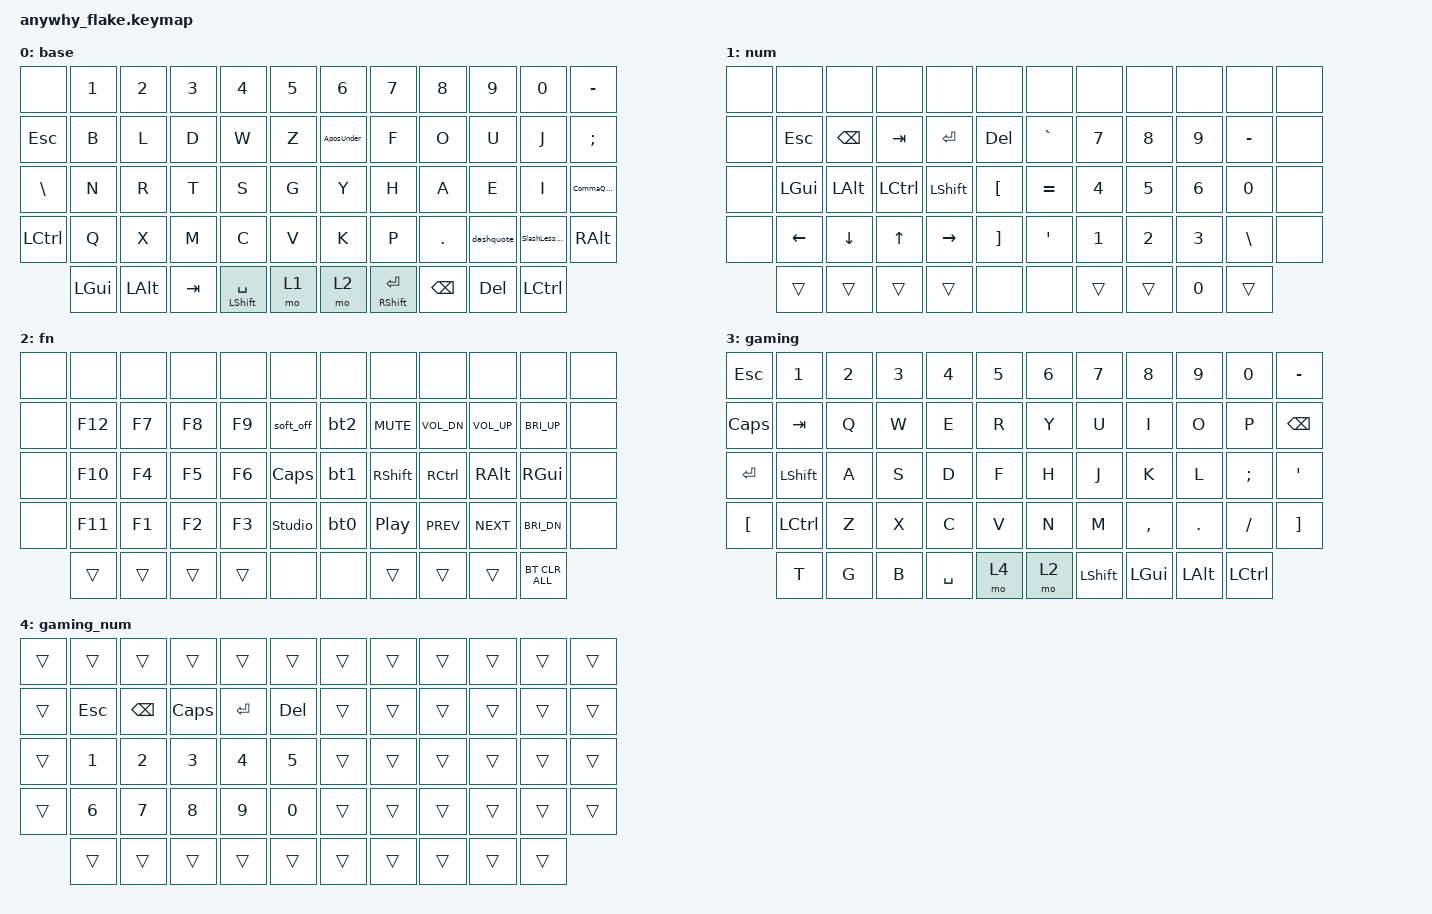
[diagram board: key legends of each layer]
#include <behaviors.dtsi>
#include <dt-bindings/zmk/bt.h>
#include <dt-bindings/zmk/keys.h>

/ {
    combos {
        compatible = "zmk,combos";

        bt_sel_3 {
            bindings = <&bt3>;
            key-positions = <42 30>;
            layers = <2>;
        };

        bt_sel_4 {
            bindings = <&bt4>;
            key-positions = <30 18>;
            layers = <2>;
        };

        enter_gaming {
            bindings = <&sl 3>;
            key-positions = <26 15 28>;
            layers = <2>;
        };

        leave_gaming {
            bindings = <&sl 0>;
            key-positions = <31 20 33>;
            layers = <4>;
        };

        grave {
            bindings = <&kp GRAVE>;
            key-positions = <13 25>;
            layers = <3>;
        };
    };

    macros {
        bt_clr_0: bt_clr_0 {
            compatible = "zmk,behavior-macro";
            #binding-cells = <0>;
            bindings = <&bt BT_SEL 0 &bt BT_CLR>;
            label = "BT_CLR_0";
        };

        bt_clr_1: bt_clr_1 {
            compatible = "zmk,behavior-macro";
            #binding-cells = <0>;
            bindings = <&bt BT_SEL 1 &bt BT_CLR>;
            label = "BT_CLR_1";
        };

        bt_clr_2: bt_clr_2 {
            compatible = "zmk,behavior-macro";
            #binding-cells = <0>;
            bindings = <&bt BT_SEL 2 &bt BT_CLR>;
            label = "BT_CLR_2";
        };

        bt_clr_3: bt_clr_3 {
            compatible = "zmk,behavior-macro";
            #binding-cells = <0>;
            bindings = <&bt BT_SEL 3 &bt BT_CLR>;
            label = "BT_CLR_3";
        };

        bt_clr_4: bt_clr_4 {
            compatible = "zmk,behavior-macro";
            #binding-cells = <0>;
            bindings = <&bt BT_SEL 4 &bt BT_CLR>;
            label = "BT_CLR_4";
        };
    };

    behaviors {
        bt0: bt0 {
            compatible = "zmk,behavior-mod-morph";
            label = "BT0";
            bindings = <&bt BT_SEL 0>, <&bt_clr_0>;

            #binding-cells = <0>;
            mods = <(MOD_LSFT|MOD_RSFT)>;
        };

        bt1: bt1 {
            compatible = "zmk,behavior-mod-morph";
            label = "BT1";
            bindings = <&bt BT_SEL 1>, <&bt_clr_1>;

            #binding-cells = <0>;
            mods = <(MOD_LSFT|MOD_RSFT)>;
        };

        bt2: bt2 {
            compatible = "zmk,behavior-mod-morph";
            label = "BT2";
            bindings = <&bt BT_SEL 2>, <&bt_clr_2>;

            #binding-cells = <0>;
            mods = <(MOD_LSFT|MOD_RSFT)>;
        };

        bt3: bt3 {
            compatible = "zmk,behavior-mod-morph";
            label = "BT3";
            bindings = <&bt BT_SEL 3>, <&bt_clr_3>;

            #binding-cells = <0>;
            mods = <(MOD_LSFT|MOD_RSFT)>;
        };

        bt4: bt4 {
            compatible = "zmk,behavior-mod-morph";
            label = "BT4";
            bindings = <&bt BT_SEL 4>, <&bt_clr_4>;

            #binding-cells = <0>;
            mods = <(MOD_LSFT|MOD_RSFT)>;
        };

        AposUnder: AposUnder {
            compatible = "zmk,behavior-mod-morph";
            label = "APOSUNDER";
            bindings = <&kp SINGLE_QUOTE>, <&kp LS(MINUS)>;

            #binding-cells = <0>;
            mods = <(MOD_LSFT|MOD_RSFT)>;
        };

        CommaQuestion: CommaQuestion {
            compatible = "zmk,behavior-mod-morph";
            label = "COMMAQUESTION";
            bindings = <&kp COMMA>, <&kp LS(SLASH)>;

            #binding-cells = <0>;
            mods = <(MOD_LSFT|MOD_RSFT)>;
        };

        dashquote: dashquote {
            compatible = "zmk,behavior-mod-morph";
            label = "DASHQUOTE";
            bindings = <&kp KP_MINUS>, <&kp LS(SINGLE_QUOTE)>;

            #binding-cells = <0>;
            mods = <(MOD_LSFT|MOD_RSFT)>;
        };

        SlashLessThan: SlashLessThan {
            compatible = "zmk,behavior-mod-morph";
            label = "SLASHLESSTHAN";
            bindings = <&kp SLASH>, <&kp LESS_THAN>;

            #binding-cells = <0>;
            mods = <(MOD_LSFT|MOD_RSFT)>;
        };

        SpaceNum: SpaceNum {
            compatible = "zmk,behavior-hold-tap";
            label = "SPACENUM";
            bindings = <&lt>, <&kp>;

            #binding-cells = <2>;
            tapping-term-ms = <200>;
        };
    };

    keymap {
        compatible = "zmk,keymap";

        base {
            bindings = <
&none      &kp N1    &kp N2    &kp N3   &kp N4                &kp N5    &kp N6      &kp N7                 &kp N8         &kp N9      &kp N0          &kp MINUS
&kp ESC    &kp B     &kp L     &kp D    &kp W                 &kp Z     &AposUnder  &kp F                  &kp O          &kp U       &kp J           &kp SEMI
&kp BSLH   &kp N     &kp R     &kp T    &kp S                 &kp G     &kp Y       &kp H                  &kp A          &kp E       &kp I           &CommaQuestion
&kp LCTRL  &kp Q     &kp X     &kp M    &kp C                 &kp V     &kp K       &kp P                  &kp PERIOD     &dashquote  &SlashLessThan  &kp RALT
           &kp LGUI  &kp LALT  &kp TAB  &mt LEFT_SHIFT SPACE  &mo 1     &mo 2       &mt RIGHT_SHIFT ENTER  &kp BACKSPACE  &kp DELETE  &kp LCTRL
            >;
        };

        num {
            bindings = <
&none  &none     &none          &none      &none      &none       &none      &none   &none   &none   &none      &none
&none  &kp ESC   &kp BACKSPACE  &kp TAB    &kp ENTER  &kp DEL     &kp GRAVE  &kp N7  &kp N8  &kp N9  &kp MINUS  &none
&none  &kp LGUI  &kp LALT       &kp LCTRL  &kp LSHFT  &kp LBKT    &kp EQUAL  &kp N4  &kp N5  &kp N6  &kp N0     &none
&none  &kp LEFT  &kp DOWN       &kp UP     &kp RIGHT  &kp RBKT    &kp SQT    &kp N1  &kp N2  &kp N3  &kp BSLH   &none
       &trans    &trans         &trans     &trans     &none       &none      &trans  &trans  &kp N0  &trans
            >;
        };

        fn {
            bindings = <
&none  &none    &none   &none   &none   &none             &none  &none       &none         &none         &none           &none
&none  &kp F12  &kp F7  &kp F8  &kp F9  &soft_off         &bt2   &kp C_MUTE  &kp C_VOL_DN  &kp C_VOL_UP  &kp C_BRI_UP    &none
&none  &kp F10  &kp F4  &kp F5  &kp F6  &kp CAPS          &bt1   &kp RSHFT   &kp RCTRL     &kp RALT      &kp RGUI        &none
&none  &kp F11  &kp F1  &kp F2  &kp F3  &studio_unlock    &bt0   &kp C_PP    &kp C_PREV    &kp C_NEXT    &kp C_BRI_DN    &none
       &trans   &trans  &trans  &trans  &none             &none  &trans      &trans        &trans        &bt BT_CLR_ALL
            >;
        };

        gaming {
            bindings = <
&kp ESC    &kp N1     &kp N2  &kp N3  &kp N4     &kp N5    &kp N6  &kp N7     &kp N8     &kp N9    &kp N0     &kp MINUS
&kp CAPS   &kp TAB    &kp Q   &kp W   &kp E      &kp R     &kp Y   &kp U      &kp I      &kp O     &kp P      &kp BSPC
&kp ENTER  &kp LSHFT  &kp A   &kp S   &kp D      &kp F     &kp H   &kp J      &kp K      &kp L     &kp SEMI   &kp APOS
&kp LBKT   &kp LCTRL  &kp Z   &kp X   &kp C      &kp V     &kp N   &kp M      &kp COMMA  &kp DOT   &kp FSLH   &kp RBKT
           &kp T      &kp G   &kp B   &kp SPACE  &mo 4     &mo 2   &kp LSHFT  &kp LGUI   &kp LALT  &kp LCTRL
            >;
        };

        gaming_num {
            bindings = <
&trans  &trans   &trans    &trans    &trans     &trans     &trans  &trans  &trans  &trans  &trans  &trans
&trans  &kp ESC  &kp BSPC  &kp CAPS  &kp ENTER  &kp DEL    &trans  &trans  &trans  &trans  &trans  &trans
&trans  &kp N1   &kp N2    &kp N3    &kp N4     &kp N5     &trans  &trans  &trans  &trans  &trans  &trans
&trans  &kp N6   &kp N7    &kp N8    &kp N9     &kp N0     &trans  &trans  &trans  &trans  &trans  &trans
        &trans   &trans    &trans    &trans     &trans     &trans  &trans  &trans  &trans  &trans
            >;
        };
    };
};
